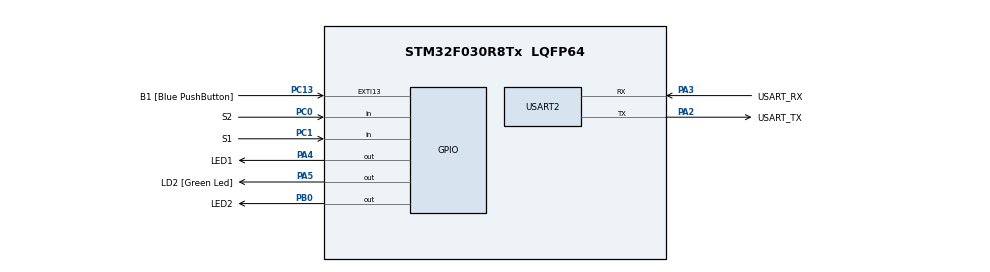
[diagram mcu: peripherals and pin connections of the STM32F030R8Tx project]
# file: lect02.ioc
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Mcu.Family=STM32F0
Mcu.Name=STM32F030R8Tx
Mcu.Package=LQFP64
PA13.GPIO_Label=TMS
PA13.Mode=Serial_Wire
PA13.Signal=SYS_SWDIO
PA14.GPIO_Label=TCK
PA14.Mode=Serial_Wire
PA14.Signal=SYS_SWCLK
PA2.GPIO_Label=USART_TX
PA2.GPIO_Mode=GPIO_MODE_AF_PP
PA2.GPIO_PuPd=GPIO_NOPULL
PA2.GPIO_Speed=GPIO_SPEED_FREQ_LOW
PA2.Mode=Asynchronous
PA2.Signal=USART2_TX
PA3.GPIO_Label=USART_RX
PA3.GPIO_Mode=GPIO_MODE_AF_PP
PA3.GPIO_PuPd=GPIO_NOPULL
PA3.GPIO_Speed=GPIO_SPEED_FREQ_LOW
PA3.Mode=Asynchronous
PA3.Signal=USART2_RX
PA4.GPIO_Label=LED1
PA4.Signal=GPIO_Output
PA5.GPIO_Label=LD2 [Green Led]
PA5.GPIO_Mode=GPIO_MODE_OUTPUT_PP
PA5.GPIO_PuPd=GPIO_NOPULL
PA5.GPIO_Speed=GPIO_SPEED_FREQ_LOW
PA5.Signal=GPIO_Output
PB0.GPIO_Label=LED2
PB0.Signal=GPIO_Output
PC0.GPIO_Label=S2
PC0.GPIO_PuPd=GPIO_PULLUP
PC0.Signal=GPIO_Input
PC1.GPIO_Label=S1
PC1.GPIO_PuPd=GPIO_PULLUP
PC1.Signal=GPIO_Input
PC13.GPIO_Label=B1 [Blue PushButton]
PC13.GPIO_ModeDefaultEXTI=GPIO_MODE_IT_FALLING
PC13.Signal=GPXTI13
PC14-OSC32_IN.Mode=LSE-External-Oscillator
PC14-OSC32_IN.Signal=RCC_OSC32_IN
PC15-OSC32_OUT.Mode=LSE-External-Oscillator
PC15-OSC32_OUT.Signal=RCC_OSC32_OUT
PF0-OSC_IN.Mode=HSE-External-Clock-Source
PF0-OSC_IN.Signal=RCC_OSC_IN
PF1-OSC_OUT.Signal=RCC_OSC_OUT
ProjectManager.HeapSize=0x200
ProjectManager.StackSize=0x400
ProjectManager.TargetToolchain=STM32CubeIDE
RCC.AHBFreq_Value=48000000
RCC.APB1Freq_Value=48000000
RCC.APB1TimFreq_Value=48000000
RCC.HCLKFreq_Value=48000000
RCC.PLLMUL=RCC_PLL_MUL12
RCC.SYSCLKFreq_VALUE=48000000
RCC.SYSCLKSource=RCC_SYSCLKSOURCE_PLLCLK
USART2.VirtualMode-Asynchronous=VM_ASYNC
board=NUCLEO-F030R8

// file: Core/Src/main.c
/* USER CODE BEGIN Header */
/**
  ******************************************************************************
  * @file           : main.c
  * @brief          : Main program body
  ******************************************************************************
  * @attention
  *
  * Copyright (c) 2024 STMicroelectronics.
  * All rights reserved.
  *
  * This software is licensed under terms that can be found in the LICENSE file
  * in the root directory of this software component.
  * If no LICENSE file comes with this software, it is provided AS-IS.
  *
  ******************************************************************************
  */
/* USER CODE END Header */
#include "main.h"

/* USER CODE BEGIN PD */
#define LED_TIME_BLINK 300
#define LED_TIME_SHORT 100
#define LED_TIME_LONG 1000
#define BUTT_TIME 40
#define EDGE_CHECK 5
/* USER CODE END PD */

/* USER CODE BEGIN PV */
volatile uint32_t Tick;
/* USER CODE END PV */

void SystemClock_Config(void);
static void MX_GPIO_Init(void);
static void MX_USART2_UART_Init(void);

/* USER CODE BEGIN 0 */
void blink(void)

{
	static uint32_t delay;

	if (Tick > delay + LED_TIME_BLINK) {
		LL_GPIO_TogglePin(LED1_GPIO_Port,LED1_Pin);
		delay = Tick;
	}
}

void button()
{
	static uint32_t delay2;
	static uint32_t delay3;

	static uint16_t debounce = 0xFFFF;
	if (Tick > delay3 + EDGE_CHECK) {
		debounce <<=1;

	}

	if (Tick > delay2 + BUTT_TIME) {

		static uint32_t old_s2;
		static uint32_t old_s1;
		static uint32_t flag1 = 0;
		static uint32_t flag2 = 0;
		static uint32_t off_time;
		static uint32_t off_time2;
		uint32_t new_s1 = LL_GPIO_IsInputPinSet(S1_GPIO_Port, S1_Pin);
		uint32_t new_s2 = LL_GPIO_IsInputPinSet(S2_GPIO_Port, S2_Pin);

		// short
		if (old_s2 && !new_s2) { // falling edge
			off_time = Tick + LED_TIME_SHORT;
			LL_GPIO_SetOutputPin(LED2_GPIO_Port, LED2_Pin);
			flag1 = 1;
		}
		old_s2 = new_s2;

		// long
		if (old_s1 && !new_s1) { // falling edge
			off_time2 = Tick + LED_TIME_LONG;
			LL_GPIO_SetOutputPin(LED2_GPIO_Port, LED2_Pin);
			flag2 = 1;

		}
		old_s1 = new_s1;

		if (flag1 == 1){
			if (Tick > off_time) {
				LL_GPIO_ResetOutputPin(LED2_GPIO_Port, LED2_Pin);
				flag1 = 0;
			}
		}

		if (flag2 == 1){

			if (Tick > off_time2) {
				LL_GPIO_ResetOutputPin(LED2_GPIO_Port, LED2_Pin);
				flag2 = 0;
			}

		}
		delay2 = Tick;
	}
}

/* USER CODE END 0 */

int main(void)
{

  /* MCU Configuration--------------------------------------------------------*/

  /* Reset of all peripherals, Initializes the Flash interface and the Systick. */
  LL_APB1_GRP2_EnableClock(LL_APB1_GRP2_PERIPH_SYSCFG);
  LL_APB1_GRP1_EnableClock(LL_APB1_GRP1_PERIPH_PWR);

  /* Configure the system clock */
  SystemClock_Config();

  /* Initialize all configured peripherals */
  MX_GPIO_Init();
  MX_USART2_UART_Init();
  /* USER CODE BEGIN 2 */
  LL_SYSTICK_EnableIT();
  /* USER CODE END 2 */

  /* Infinite loop */
  while (1)
  {

    /* USER CODE BEGIN 3 */
	  blink();
	  button();
  }
  /* USER CODE END 3 */
}

void SystemClock_Config(void)
{
  LL_FLASH_SetLatency(LL_FLASH_LATENCY_1);
  while(LL_FLASH_GetLatency() != LL_FLASH_LATENCY_1)
  {
  }
  LL_RCC_HSI_Enable();

   /* Wait till HSI is ready */
  while(LL_RCC_HSI_IsReady() != 1)
  {

  }
  LL_RCC_HSI_SetCalibTrimming(16);
  LL_RCC_PLL_ConfigDomain_SYS(LL_RCC_PLLSOURCE_HSI_DIV_2, LL_RCC_PLL_MUL_12);
  LL_RCC_PLL_Enable();

   /* Wait till PLL is ready */
  while(LL_RCC_PLL_IsReady() != 1)
  {

  }
  LL_RCC_SetAHBPrescaler(LL_RCC_SYSCLK_DIV_1);
  LL_RCC_SetAPB1Prescaler(LL_RCC_APB1_DIV_1);
  LL_RCC_SetSysClkSource(LL_RCC_SYS_CLKSOURCE_PLL);

   /* Wait till System clock is ready */
  while(LL_RCC_GetSysClkSource() != LL_RCC_SYS_CLKSOURCE_STATUS_PLL)
  {

  }
  LL_Init1msTick(48000000);
  LL_SetSystemCoreClock(48000000);
}

static void MX_USART2_UART_Init(void)
{

  LL_USART_InitTypeDef USART_InitStruct = {0};

  LL_GPIO_InitTypeDef GPIO_InitStruct = {0};

  /* Peripheral clock enable */
  LL_APB1_GRP1_EnableClock(LL_APB1_GRP1_PERIPH_USART2);

  LL_AHB1_GRP1_EnableClock(LL_AHB1_GRP1_PERIPH_GPIOA);
  /**USART2 GPIO Configuration
  PA2   ------> USART2_TX
  PA3   ------> USART2_RX
  */
  GPIO_InitStruct.Pin = USART_TX_Pin;
  GPIO_InitStruct.Mode = LL_GPIO_MODE_ALTERNATE;
  GPIO_InitStruct.Speed = LL_GPIO_SPEED_FREQ_LOW;
  GPIO_InitStruct.OutputType = LL_GPIO_OUTPUT_PUSHPULL;
  GPIO_InitStruct.Pull = LL_GPIO_PULL_NO;
  GPIO_InitStruct.Alternate = LL_GPIO_AF_1;
  LL_GPIO_Init(USART_TX_GPIO_Port, &GPIO_InitStruct);

  GPIO_InitStruct.Pin = USART_RX_Pin;
  GPIO_InitStruct.Mode = LL_GPIO_MODE_ALTERNATE;
  GPIO_InitStruct.Speed = LL_GPIO_SPEED_FREQ_LOW;
  GPIO_InitStruct.OutputType = LL_GPIO_OUTPUT_PUSHPULL;
  GPIO_InitStruct.Pull = LL_GPIO_PULL_NO;
  GPIO_InitStruct.Alternate = LL_GPIO_AF_1;
  LL_GPIO_Init(USART_RX_GPIO_Port, &GPIO_InitStruct);

  USART_InitStruct.BaudRate = 38400;
  USART_InitStruct.DataWidth = LL_USART_DATAWIDTH_8B;
  USART_InitStruct.StopBits = LL_USART_STOPBITS_1;
  USART_InitStruct.Parity = LL_USART_PARITY_NONE;
  USART_InitStruct.TransferDirection = LL_USART_DIRECTION_TX_RX;
  USART_InitStruct.HardwareFlowControl = LL_USART_HWCONTROL_NONE;
  USART_InitStruct.OverSampling = LL_USART_OVERSAMPLING_16;
  LL_USART_Init(USART2, &USART_InitStruct);
  LL_USART_DisableIT_CTS(USART2);
  LL_USART_ConfigAsyncMode(USART2);
  LL_USART_Enable(USART2);

}

static void MX_GPIO_Init(void)
{
  LL_EXTI_InitTypeDef EXTI_InitStruct = {0};
  LL_GPIO_InitTypeDef GPIO_InitStruct = {0};

  /* GPIO Ports Clock Enable */
  LL_AHB1_GRP1_EnableClock(LL_AHB1_GRP1_PERIPH_GPIOC);
  LL_AHB1_GRP1_EnableClock(LL_AHB1_GRP1_PERIPH_GPIOF);
  LL_AHB1_GRP1_EnableClock(LL_AHB1_GRP1_PERIPH_GPIOA);
  LL_AHB1_GRP1_EnableClock(LL_AHB1_GRP1_PERIPH_GPIOB);

  /**/
  LL_GPIO_ResetOutputPin(LED1_GPIO_Port, LED1_Pin);

  /**/
  LL_GPIO_ResetOutputPin(LD2_GPIO_Port, LD2_Pin);

  /**/
  LL_GPIO_ResetOutputPin(LED2_GPIO_Port, LED2_Pin);

  /**/
  LL_SYSCFG_SetEXTISource(LL_SYSCFG_EXTI_PORTC, LL_SYSCFG_EXTI_LINE13);

  /**/
  LL_GPIO_SetPinPull(B1_GPIO_Port, B1_Pin, LL_GPIO_PULL_NO);

  /**/
  LL_GPIO_SetPinMode(B1_GPIO_Port, B1_Pin, LL_GPIO_MODE_INPUT);

  /**/
  EXTI_InitStruct.Line_0_31 = LL_EXTI_LINE_13;
  EXTI_InitStruct.LineCommand = ENABLE;
  EXTI_InitStruct.Mode = LL_EXTI_MODE_IT;
  EXTI_InitStruct.Trigger = LL_EXTI_TRIGGER_FALLING;
  LL_EXTI_Init(&EXTI_InitStruct);

  /**/
  GPIO_InitStruct.Pin = S2_Pin;
  GPIO_InitStruct.Mode = LL_GPIO_MODE_INPUT;
  GPIO_InitStruct.Pull = LL_GPIO_PULL_UP;
  LL_GPIO_Init(S2_GPIO_Port, &GPIO_InitStruct);

  /**/
  GPIO_InitStruct.Pin = S1_Pin;
  GPIO_InitStruct.Mode = LL_GPIO_MODE_INPUT;
  GPIO_InitStruct.Pull = LL_GPIO_PULL_UP;
  LL_GPIO_Init(S1_GPIO_Port, &GPIO_InitStruct);

  /**/
  GPIO_InitStruct.Pin = LED1_Pin;
  GPIO_InitStruct.Mode = LL_GPIO_MODE_OUTPUT;
  GPIO_InitStruct.Speed = LL_GPIO_SPEED_FREQ_LOW;
  GPIO_InitStruct.OutputType = LL_GPIO_OUTPUT_PUSHPULL;
  GPIO_InitStruct.Pull = LL_GPIO_PULL_NO;
  LL_GPIO_Init(LED1_GPIO_Port, &GPIO_InitStruct);

  /**/
  GPIO_InitStruct.Pin = LD2_Pin;
  GPIO_InitStruct.Mode = LL_GPIO_MODE_OUTPUT;
  GPIO_InitStruct.Speed = LL_GPIO_SPEED_FREQ_LOW;
  GPIO_InitStruct.OutputType = LL_GPIO_OUTPUT_PUSHPULL;
  GPIO_InitStruct.Pull = LL_GPIO_PULL_NO;
  LL_GPIO_Init(LD2_GPIO_Port, &GPIO_InitStruct);

  /**/
  GPIO_InitStruct.Pin = LED2_Pin;
  GPIO_InitStruct.Mode = LL_GPIO_MODE_OUTPUT;
  GPIO_InitStruct.Speed = LL_GPIO_SPEED_FREQ_LOW;
  GPIO_InitStruct.OutputType = LL_GPIO_OUTPUT_PUSHPULL;
  GPIO_InitStruct.Pull = LL_GPIO_PULL_NO;
  LL_GPIO_Init(LED2_GPIO_Port, &GPIO_InitStruct);

}

void Error_Handler(void)
{
  __disable_irq();
  while (1)
  {
  }
}
